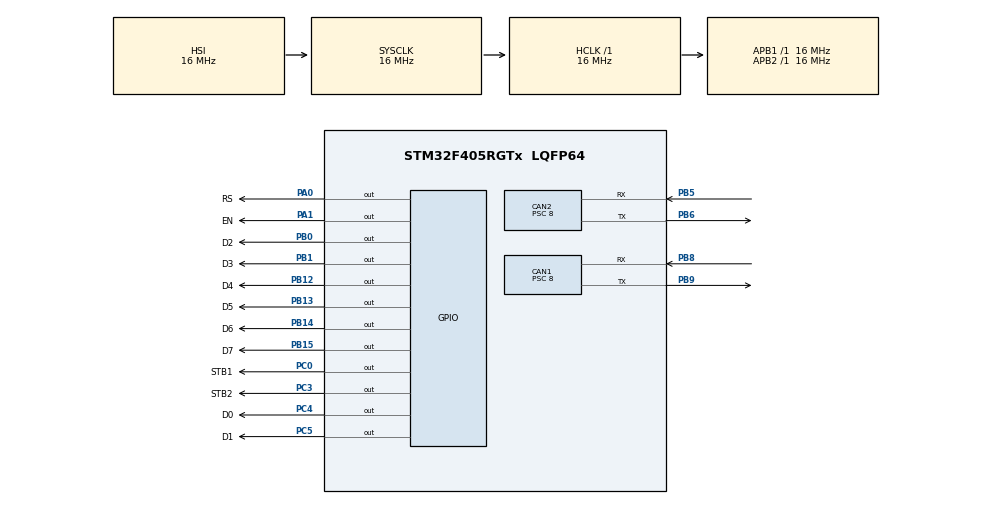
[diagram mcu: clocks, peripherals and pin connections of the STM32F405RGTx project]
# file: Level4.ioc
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CAN1.BS1=CAN_BS1_9TQ
CAN1.BS2=CAN_BS2_2TQ
CAN1.CalculateBaudRate=166666
CAN1.CalculateTimeBit=6000
CAN1.CalculateTimeQuantum=500.0
CAN1.Prescaler=8
CAN2.BS1=CAN_BS1_9TQ
CAN2.BS2=CAN_BS2_2TQ
CAN2.CalculateBaudRate=166666
CAN2.CalculateTimeBit=6000
CAN2.CalculateTimeQuantum=500.0
CAN2.Prescaler=8
Mcu.Family=STM32F4
Mcu.Name=STM32F405RGTx
Mcu.Package=LQFP64
NVIC.PriorityGroup=NVIC_PRIORITYGROUP_4
PA0-WKUP.GPIO_Label=RS
PA0-WKUP.Signal=GPIO_Output
PA1.GPIO_Label=EN
PA1.Signal=GPIO_Output
PA13.Mode=Serial_Wire
PA13.Signal=SYS_JTMS-SWDIO
PA14.Mode=Serial_Wire
PA14.Signal=SYS_JTCK-SWCLK
PB0.GPIO_Label=D2
PB0.Signal=GPIO_Output
PB1.GPIO_Label=D3
PB1.Signal=GPIO_Output
PB12.GPIO_Label=D4
PB12.Signal=GPIO_Output
PB13.GPIO_Label=D5
PB13.Signal=GPIO_Output
PB14.GPIO_Label=D6
PB14.Signal=GPIO_Output
PB15.GPIO_Label=D7
PB15.Signal=GPIO_Output
PB5.Mode=CAN_Activate
PB5.Signal=CAN2_RX
PB6.Mode=CAN_Activate
PB6.Signal=CAN2_TX
PB8.Mode=CAN_Activate
PB8.Signal=CAN1_RX
PB9.Mode=CAN_Activate
PB9.Signal=CAN1_TX
PC0.GPIO_Label=STB1
PC0.Signal=GPIO_Output
PC14-OSC32_IN.Mode=LSE-External-Oscillator
PC14-OSC32_IN.Signal=RCC_OSC32_IN
PC15-OSC32_OUT.Mode=LSE-External-Oscillator
PC15-OSC32_OUT.Signal=RCC_OSC32_OUT
PC3.GPIO_Label=STB2
PC3.Signal=GPIO_Output
PC4.GPIO_Label=D0
PC4.Signal=GPIO_Output
PC5.GPIO_Label=D1
PC5.Signal=GPIO_Output
PH0-OSC_IN.Mode=HSE-External-Oscillator
PH0-OSC_IN.Signal=RCC_OSC_IN
PH1-OSC_OUT.Mode=HSE-External-Oscillator
PH1-OSC_OUT.Signal=RCC_OSC_OUT
ProjectManager.HeapSize=0x200
ProjectManager.StackSize=0x400
ProjectManager.TargetToolchain=STM32CubeIDE
RCC.48MHZClocksFreq_Value=48000000
RCC.AHBFreq_Value=16000000
RCC.APB1Freq_Value=16000000
RCC.APB2Freq_Value=16000000
RCC.CortexFreq_Value=16000000
RCC.HSE_VALUE=25000000
RCC.HSI_VALUE=16000000
RCC.SYSCLKFreq_VALUE=16000000
RCC.VCOOutputFreq_Value=192000000
board=custom

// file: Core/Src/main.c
/* USER CODE BEGIN Header */
/**
  ******************************************************************************
  * @file           : main.c
  * @brief          : Main program body
  ******************************************************************************
  * @attention
  *
  *  *
  * Experiment - 3 Full duplex communication
  *
  * Use STM32F405RGxx development Board
  * Configure CAN1, CAN2 both as Master
  * Send/Receive message from CAN1 to CAN 2 in full duplex.
  * Display received message in 2x16LCD
  *
  *
  * This software is licensed under terms that can be found in the LICENSE file
  * in the root directory of this software component.
  * If no LICENSE file comes with this software, it is provided AS-IS.
  *
  ******************************************************************************
  */
/* USER CODE END Header */
#include "main.h"

CAN_HandleTypeDef hcan1;
CAN_HandleTypeDef hcan2;

/* USER CODE BEGIN PV */
CAN_TxHeaderTypeDef  p1header, p3header;
CAN_RxHeaderTypeDef  p2header, p4header;
uint32_t pTxMailbox = CAN_TX_MAILBOX0, RxFifo = CAN_RX_FIFO0;
CAN_FilterTypeDef  sFilterConfig;
uint8_t aData[8], bData[8], received_data[8], received_data1[8];
uint8_t can_data, Can_id;
/* USER CODE END PV */

void SystemClock_Config(void);
static void MX_GPIO_Init(void);
static void MX_CAN1_Init(void);
static void MX_CAN2_Init(void);
/* USER CODE BEGIN PFP */
void lcd_init();
void cmd(unsigned char C);
void data(unsigned char D);
void display(unsigned char *ptr);
void Time(unsigned char Value);
/* USER CODE END PFP */

int main(void)
{

  /* MCU Configuration--------------------------------------------------------*/

  /* Reset of all peripherals, Initializes the Flash interface and the Systick. */
  HAL_Init();

  /* Configure the system clock */
  SystemClock_Config();

  /* Initialize all configured peripherals */
  MX_GPIO_Init();
  MX_CAN1_Init();
  MX_CAN2_Init();

  /* Infinite loop */
  /* USER CODE BEGIN WHILE */
	lcd_init();
	HAL_Delay(500);

	// Set Output pin STB1, STB2 as LOW
	HAL_GPIO_WritePin(GPIOC, STB1_Pin, GPIO_PIN_RESET);
	HAL_GPIO_WritePin(GPIOC, STB2_Pin, GPIO_PIN_RESET);

	// Data configuration
	aData[0]='r';
	aData[1]='e';
	aData[2]='c';
	aData[3]='e';
	aData[4]='i';
	aData[5]='v';
	aData[6]='e';
	aData[7]='d';

	// CAN1 Tx message header configuration
	p1header.DLC = 8;
	p1header.IDE = CAN_ID_STD;
	p1header.StdId = 0x001;
	p1header.RTR = CAN_RTR_DATA;

	// Data configuration
	bData[0]='R';
	bData[1]='E';
	bData[2]='C';
	bData[3]='E';
	bData[4]='I';
	bData[5]='V';
	bData[6]='E';
	bData[7]='D';

	// CAN2 Tx message header configuration
	p3header.DLC = 8;
	p3header.IDE = CAN_ID_STD;
	p3header.StdId = 0x001;
	p3header.RTR = CAN_RTR_DATA;

	// CAN Filter configuration
	sFilterConfig.FilterFIFOAssignment=CAN_FILTER_FIFO0;
	sFilterConfig.FilterIdHigh = 0x00C;
	sFilterConfig.FilterIdLow = 0x00A;
	sFilterConfig.FilterMaskIdHigh = 0;
	sFilterConfig.FilterMaskIdLow = 0;
	sFilterConfig.FilterScale = CAN_FILTERSCALE_32BIT;
	sFilterConfig.FilterActivation = ENABLE;
	HAL_CAN_ConfigFilter(&hcan1, &sFilterConfig);
	HAL_CAN_ConfigFilter(&hcan2, &sFilterConfig);

	// Start CAN transmission
	HAL_CAN_Start(&hcan1);
	HAL_CAN_Start(&hcan2);
  while (1)
  {
	// CAN1 send message CAN2 receive
	HAL_CAN_AddTxMessage(&hcan1, &p1header, aData, &pTxMailbox);
	HAL_CAN_GetRxMessage(&hcan2, CAN_RX_FIFO0, &p2header, received_data);
	Can_id = p1header.StdId;

	// CAN2 send message CAN1 receive
	HAL_Delay(300);
	HAL_CAN_AddTxMessage(&hcan2, &p3header, bData, &pTxMailbox);
	HAL_CAN_GetRxMessage(&hcan1, CAN_RX_FIFO0, &p4header, received_data1);
	Can_id = p1header.StdId;

	// LCD display received data
	cmd(0x80);
	for (int i = 0; i < 8; i++)
	{
		data(received_data1[i]);
	}
	cmd(0xC0);
	for (int i = 0; i < 8; i++)
	{
		data(received_data[i]);
	}
    /* USER CODE END WHILE */

  }
}

void SystemClock_Config(void)
{
  RCC_OscInitTypeDef RCC_OscInitStruct = {0};
  RCC_ClkInitTypeDef RCC_ClkInitStruct = {0};

  /** Configure the main internal regulator output voltage
  */
  __HAL_RCC_PWR_CLK_ENABLE();
  __HAL_PWR_VOLTAGESCALING_CONFIG(PWR_REGULATOR_VOLTAGE_SCALE1);

  /** Initializes the RCC Oscillators according to the specified parameters
  * in the RCC_OscInitTypeDef structure.
  */
  RCC_OscInitStruct.OscillatorType = RCC_OSCILLATORTYPE_HSI;
  RCC_OscInitStruct.HSIState = RCC_HSI_ON;
  RCC_OscInitStruct.HSICalibrationValue = RCC_HSICALIBRATION_DEFAULT;
  RCC_OscInitStruct.PLL.PLLState = RCC_PLL_NONE;
  if (HAL_RCC_OscConfig(&RCC_OscInitStruct) != HAL_OK)
  {
    Error_Handler();
  }

  /** Initializes the CPU, AHB and APB buses clocks
  */
  RCC_ClkInitStruct.ClockType = RCC_CLOCKTYPE_HCLK|RCC_CLOCKTYPE_SYSCLK
                              |RCC_CLOCKTYPE_PCLK1|RCC_CLOCKTYPE_PCLK2;
  RCC_ClkInitStruct.SYSCLKSource = RCC_SYSCLKSOURCE_HSI;
  RCC_ClkInitStruct.AHBCLKDivider = RCC_SYSCLK_DIV1;
  RCC_ClkInitStruct.APB1CLKDivider = RCC_HCLK_DIV1;
  RCC_ClkInitStruct.APB2CLKDivider = RCC_HCLK_DIV1;

  if (HAL_RCC_ClockConfig(&RCC_ClkInitStruct, FLASH_LATENCY_0) != HAL_OK)
  {
    Error_Handler();
  }
}

static void MX_CAN1_Init(void)
{

  hcan1.Instance = CAN1;
  hcan1.Init.Prescaler = 8;
  hcan1.Init.Mode = CAN_MODE_NORMAL;
  hcan1.Init.SyncJumpWidth = CAN_SJW_1TQ;
  hcan1.Init.TimeSeg1 = CAN_BS1_9TQ;
  hcan1.Init.TimeSeg2 = CAN_BS2_2TQ;
  hcan1.Init.TimeTriggeredMode = DISABLE;
  hcan1.Init.AutoBusOff = DISABLE;
  hcan1.Init.AutoWakeUp = DISABLE;
  hcan1.Init.AutoRetransmission = DISABLE;
  hcan1.Init.ReceiveFifoLocked = DISABLE;
  hcan1.Init.TransmitFifoPriority = DISABLE;
  if (HAL_CAN_Init(&hcan1) != HAL_OK)
  {
    Error_Handler();
  }

}

static void MX_CAN2_Init(void)
{

  hcan2.Instance = CAN2;
  hcan2.Init.Prescaler = 8;
  hcan2.Init.Mode = CAN_MODE_NORMAL;
  hcan2.Init.SyncJumpWidth = CAN_SJW_1TQ;
  hcan2.Init.TimeSeg1 = CAN_BS1_9TQ;
  hcan2.Init.TimeSeg2 = CAN_BS2_2TQ;
  hcan2.Init.TimeTriggeredMode = DISABLE;
  hcan2.Init.AutoBusOff = DISABLE;
  hcan2.Init.AutoWakeUp = DISABLE;
  hcan2.Init.AutoRetransmission = DISABLE;
  hcan2.Init.ReceiveFifoLocked = DISABLE;
  hcan2.Init.TransmitFifoPriority = DISABLE;
  if (HAL_CAN_Init(&hcan2) != HAL_OK)
  {
    Error_Handler();
  }

}

static void MX_GPIO_Init(void)
{
  GPIO_InitTypeDef GPIO_InitStruct = {0};

  /* GPIO Ports Clock Enable */
  __HAL_RCC_GPIOC_CLK_ENABLE();
  __HAL_RCC_GPIOH_CLK_ENABLE();
  __HAL_RCC_GPIOA_CLK_ENABLE();
  __HAL_RCC_GPIOB_CLK_ENABLE();

  /*Configure GPIO pin Output Level */
  HAL_GPIO_WritePin(GPIOC, STB1_Pin|STB2_Pin|D0_Pin|D1_Pin, GPIO_PIN_RESET);

  /*Configure GPIO pin Output Level */
  HAL_GPIO_WritePin(GPIOA, RS_Pin|EN_Pin, GPIO_PIN_RESET);

  /*Configure GPIO pin Output Level */
  HAL_GPIO_WritePin(GPIOB, D2_Pin|D3_Pin|D4_Pin|D5_Pin
                          |D6_Pin|D7_Pin, GPIO_PIN_RESET);

  /*Configure GPIO pins : STB1_Pin STB2_Pin D0_Pin D1_Pin */
  GPIO_InitStruct.Pin = STB1_Pin|STB2_Pin|D0_Pin|D1_Pin;
  GPIO_InitStruct.Mode = GPIO_MODE_OUTPUT_PP;
  GPIO_InitStruct.Pull = GPIO_NOPULL;
  GPIO_InitStruct.Speed = GPIO_SPEED_FREQ_LOW;
  HAL_GPIO_Init(GPIOC, &GPIO_InitStruct);

  /*Configure GPIO pins : RS_Pin EN_Pin */
  GPIO_InitStruct.Pin = RS_Pin|EN_Pin;
  GPIO_InitStruct.Mode = GPIO_MODE_OUTPUT_PP;
  GPIO_InitStruct.Pull = GPIO_NOPULL;
  GPIO_InitStruct.Speed = GPIO_SPEED_FREQ_LOW;
  HAL_GPIO_Init(GPIOA, &GPIO_InitStruct);

  /*Configure GPIO pins : D2_Pin D3_Pin D4_Pin D5_Pin
                           D6_Pin D7_Pin */
  GPIO_InitStruct.Pin = D2_Pin|D3_Pin|D4_Pin|D5_Pin
                          |D6_Pin|D7_Pin;
  GPIO_InitStruct.Mode = GPIO_MODE_OUTPUT_PP;
  GPIO_InitStruct.Pull = GPIO_NOPULL;
  GPIO_InitStruct.Speed = GPIO_SPEED_FREQ_LOW;
  HAL_GPIO_Init(GPIOB, &GPIO_InitStruct);

}

/* USER CODE BEGIN 4 */
void lcd_init()
{
	HAL_Delay(10);
	cmd(0x01);
	cmd(0x38);
	cmd(0x06);
	cmd(0x0C);
	HAL_Delay(10);
}

void cmd(unsigned char C)
{
	HAL_GPIO_WritePin(GPIOA, RS_Pin, 0);
	HAL_GPIO_WritePin(GPIOC, D0_Pin,(C&0X01));
	HAL_GPIO_WritePin(GPIOC, D1_Pin,(C&0X02));
	HAL_GPIO_WritePin(GPIOB, D2_Pin,(C&0X04));
	HAL_GPIO_WritePin(GPIOB, D3_Pin,(C&0X08));
	HAL_GPIO_WritePin(GPIOB, D4_Pin,(C&0X10));
	HAL_GPIO_WritePin(GPIOB, D5_Pin,(C&0X20));
	HAL_GPIO_WritePin(GPIOB, D6_Pin,(C&0X40));
	HAL_GPIO_WritePin(GPIOB, D7_Pin,(C&0X80));
	HAL_GPIO_WritePin(GPIOA, EN_Pin, 1);
	HAL_Delay(5);
	HAL_GPIO_WritePin(GPIOA, EN_Pin, 0);
	HAL_Delay(5);
}

void data (unsigned char D)
{
	HAL_GPIO_WritePin(GPIOA, RS_Pin, 1);
	HAL_GPIO_WritePin(GPIOC, D0_Pin,(D&0X01));
	HAL_GPIO_WritePin(GPIOC, D1_Pin,(D&0X02));
	HAL_GPIO_WritePin(GPIOB, D2_Pin,(D&0X04));
	HAL_GPIO_WritePin(GPIOB, D3_Pin,(D&0X08));
	HAL_GPIO_WritePin(GPIOB, D4_Pin,(D&0X10));
	HAL_GPIO_WritePin(GPIOB, D5_Pin,(D&0X20));
	HAL_GPIO_WritePin(GPIOB, D6_Pin,(D&0X40));
	HAL_GPIO_WritePin(GPIOB, D7_Pin,(D&0X80));
	HAL_GPIO_WritePin(GPIOA, EN_Pin, 1);
	HAL_Delay(5);
	HAL_GPIO_WritePin(GPIOA, EN_Pin, 0);
	HAL_Delay(5);
}

void display(unsigned char *ptr)
{
	while(*ptr!='\0')
	{
	data(*ptr++);
	HAL_Delay(2);
	}
}

void Time(unsigned char Value)
{
	data(((Value%100)/10)+0X30);
	data((Value%10)+0X30);
}
/* USER CODE END 4 */

void Error_Handler(void)
{
  __disable_irq();
  while (1)
  {
  }
}
